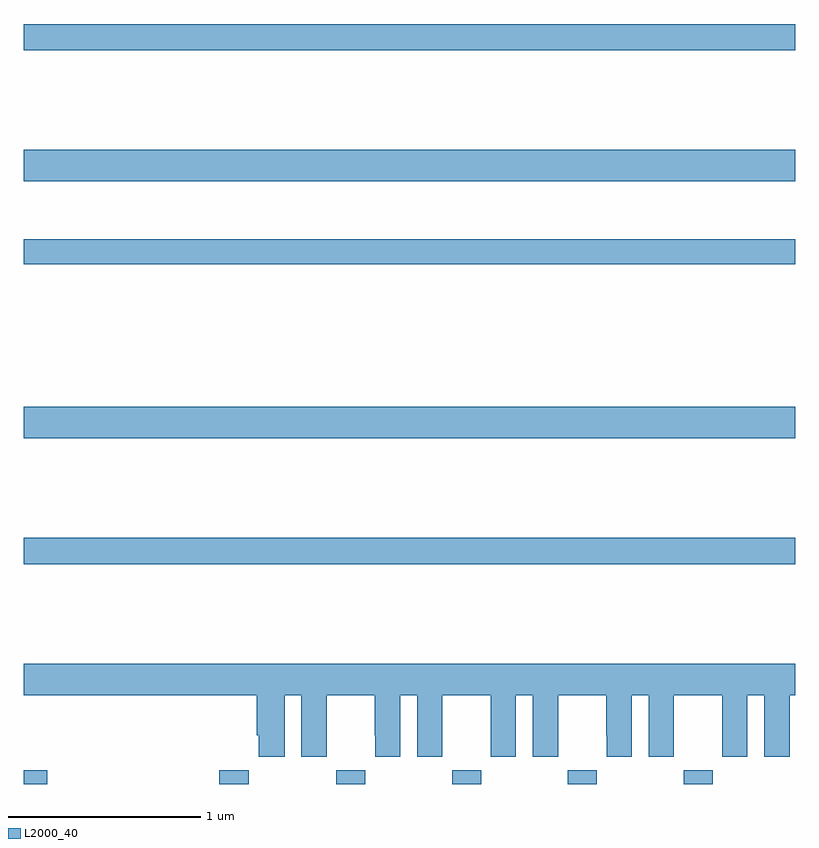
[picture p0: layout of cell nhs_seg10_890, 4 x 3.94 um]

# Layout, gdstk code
import gdstk
lib = gdstk.Library(unit=1e-6, precision=1e-09)
def R(c, l, rs):  # rectangles x0, y0, x1, y1
    for r in rs: c.add(gdstk.rectangle(r[:2], r[2:], *l))
def A(c, l, x, y, w, h, nx, ny, dx, dy):  # array of equal rectangles
    R(c, l, [(x+i*dx, y+j*dy, x+i*dx+w, y+j*dy+h) for i in range(nx) for j in range(ny)])
def P(c, l, *ps):  # polygons
    for p in ps: c.add(gdstk.Polygon(p, *l))
L2000_40 = (2000, 40)

nhs_seg10_890 = lib.new_cell('nhs_seg10_890')
A(nhs_seg10_890, L2000_40, 156.621, 1322.5, 0.15, 0.072, 4, 1, 0.6, 0)
R(nhs_seg10_890, L2000_40, [(155,1322.5,155.123,1322.572), (156.014,1322.5,156.167,1322.572), (155,1323.64,159,1323.776), (155,1324.292,159,1324.456), (155,1325.194,159,1325.323), (155,1325.624,159,1325.788), (155,1326.304,159,1326.44)])
P(nhs_seg10_890, L2000_40, [(156.352,1322.96),(156.44,1322.96),(156.44,1322.64),(156.57,1322.64),(156.57,1322.752),(156.571,1322.752),(156.571,1322.96),(156.821,1322.96),(156.821,1322.752),(156.822,1322.752),(156.822,1322.64),(156.952,1322.64),(156.952,1322.96),(157.04,1322.96),(157.04,1322.64),(157.17,1322.64),(157.17,1322.752),(157.171,1322.752),(157.171,1322.96),(157.421,1322.96),(157.421,1322.752),(157.422,1322.752),(157.422,1322.64),(157.552,1322.64),(157.552,1322.96),(157.64,1322.96),(157.64,1322.64),(157.77,1322.64),(157.77,1322.752),(157.771,1322.752),(157.771,1322.96),(158.021,1322.96),(158.021,1322.752),(158.022,1322.752),(158.022,1322.64),(158.152,1322.64),(158.152,1322.96),(158.24,1322.96),(158.24,1322.64),(158.37,1322.64),(158.37,1322.752),(158.371,1322.752),(158.371,1322.96),(158.621,1322.96),(158.621,1322.752),(158.622,1322.752),(158.622,1322.64),(158.752,1322.64),(158.752,1322.96),(158.84,1322.96),(158.84,1322.64),(158.97,1322.64),(158.97,1322.752),(158.971,1322.752),(158.971,1322.96),(159,1322.96),(159,1323.124),(155,1323.124),(155,1322.96),(156.209,1322.96),(156.209,1322.752),(156.218,1322.752),(156.218,1322.64),(156.352,1322.64)])

lib.write_gds('nhs_seg10_890.gds')
